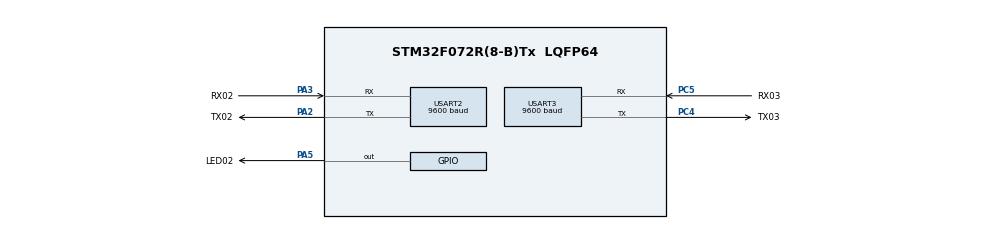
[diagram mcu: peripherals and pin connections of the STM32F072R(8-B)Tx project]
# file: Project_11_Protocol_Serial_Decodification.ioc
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Mcu.Family=STM32F0
Mcu.Name=STM32F072R(8-B)Tx
Mcu.Package=LQFP64
NVIC.USART2_IRQn=true\:0\:0\:false\:false\:true\:true\:true\:true
NVIC.USART3_4_IRQn=true\:0\:0\:false\:false\:true\:true\:true\:true
PA2.GPIO_Label=TX02
PA2.Mode=Asynchronous
PA2.Signal=USART2_TX
PA3.GPIO_Label=RX02
PA3.Mode=Asynchronous
PA3.Signal=USART2_RX
PA5.GPIO_Label=LED02
PA5.Signal=GPIO_Output
PC4.GPIO_Label=TX03
PC4.Mode=Asynchronous
PC4.Signal=USART3_TX
PC5.GPIO_Label=RX03
PC5.Mode=Asynchronous
PC5.Signal=USART3_RX
ProjectManager.HeapSize=0x200
ProjectManager.StackSize=0x400
ProjectManager.TargetToolchain=STM32CubeIDE
USART2.BaudRate=9600
USART2.VirtualMode-Asynchronous=VM_ASYNC
USART3.BaudRate=9600
USART3.VirtualMode-Asynchronous=VM_ASYNC
VP_CRC_VS_CRC.Mode=CRC_Activate
board=custom

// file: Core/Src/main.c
/* USER CODE BEGIN Header */
/**
  ******************************************************************************
  * @file           : main.c
  * @brief          : Main program body
  ******************************************************************************
  * @attention
  *
  * Copyright (c) 2022 STMicroelectronics.
  * All rights reserved.
  *
  * This software is licensed under terms that can be found in the LICENSE file
  * in the root directory of this software component.
  * If no LICENSE file comes with this software, it is provided AS-IS.
  *
  ******************************************************************************
  */
/* USER CODE END Header */
#include "main.h"

/* USER CODE BEGIN Includes */

#include <stdio.h>
#include <stdlib.h>
#include <string.h>

/* USER CODE END Includes */

/* USER CODE BEGIN PD */

#define comand_high  HAL_GPIO_WritePin(GPIOA,GPIO_PIN_5,GPIO_PIN_SET)
#define comand_low HAL_GPIO_WritePin(GPIOA,GPIO_PIN_5,GPIO_PIN_RESET)
#define delay_00 HAL_Delay(750)
#define delay_01 HAL_Delay(450)
#define ESTAGIO_PREPROSSEAMENTO 0
#define ESTAGIO_01 1
#define ESTAGIO_02 2
#define ESTAGIO_03 3
#define ESTAGIO_04 4
#define ESTAGIO_05 5
#define CABECALHO 6
#define TAMANHO 7
#define COMANDO 8
#define MENSAGEM 9
#define CHECKSUM 10

/* USER CODE END PD */

/* USER CODE BEGIN PM */

volatile char V_Estagio; //Variável de cintrole do switch case
volatile char V_Estagio_Protocolo;

uint8_t ErroCabecalho[] = "Elemento de cabecalho incorreto\n";
uint8_t ErroCheckSum[] = "Check Sum incorreto\n";
uint8_t CorrectCheckSum[] = "Check Sum correto\n";
uint8_t MensageVazia[] = "-";

/* USER CODE END PM */

CRC_HandleTypeDef hcrc;

UART_HandleTypeDef huart2;
UART_HandleTypeDef huart3;

void SystemClock_Config(void);
static void MX_GPIO_Init(void);
static void MX_USART2_UART_Init(void);
static void MX_USART3_UART_Init(void);
static void MX_CRC_Init(void);
/* USER CODE BEGIN PFP */

int PiscaLed(int NumPiscadas , int TempoDelay)
{

	for(int i = 0; i < NumPiscadas; i++)
	{

		HAL_GPIO_WritePin(GPIOA,LED02_Pin,GPIO_PIN_SET);
		HAL_Delay(TempoDelay);
		HAL_GPIO_WritePin(GPIOA,LED02_Pin,GPIO_PIN_RESET);
		HAL_Delay(TempoDelay);

	}

	return 0;

}

int checkSum(uint8_t *Byte, int tamanho)
{
	//Adicionar uma vriável chamda tamanho para controlar até onde o for irá

	uint8_t dados= 0;

	uint8_t CS_Incorreto = 0;

	uint8_t CS_Correto = 1;

	for (int i = 0; i < 6; i++)
	{

			HAL_Delay(100);
			dados += Byte[i];
	}

	if (dados == Byte[7])
	{

		return CS_Correto;

	}

	else
	{

		return CS_Incorreto;

	}

}

void Protocolo(uint8_t *a,int Tamanho_string)
{
//Quan a função é declarada e logo abaixo é chamda não é necessário montar um projeto

	  fflush(stdin);

	  uint8_t Verificacao;

	  short int  contador = 0;

	  switch(V_Estagio_Protocolo)
	  {
	  	//Nesta estapa são verificados os elementos do cabecalho

		case(CHECKSUM):
		{

			Verificacao = checkSum(a, Tamanho_string);

			if (Verificacao == 1)
			{
				V_Estagio_Protocolo =  ESTAGIO_PREPROSSEAMENTO;

			}

			else
			{

				break;

			}

		}

		case ESTAGIO_PREPROSSEAMENTO:
		{

		  if((a[0] == 'L')){

			 V_Estagio_Protocolo  = ESTAGIO_01;
			 contador +=1;

		  }

		  if ((a[0] != 'L' ) && (a[0] != '\0') )
		  {

			  break;

		  }

		 }

		  case ESTAGIO_01:
		  {

			  if((a[1] == 'U'))
			  {

				  V_Estagio_Protocolo  = ESTAGIO_02;
				  contador +=1;

			  }

			  if ((a[1] != 'U') && (a[1] != '\0'))
			  {

				  break;
			  }
		  }
		  case ESTAGIO_02:
		  {
			  if((a[2] == 'P'))
			  {

				  V_Estagio_Protocolo  = ESTAGIO_03;
				  contador +=1;
			  }

			  if ((a[2] != 'P') && (a[2] != '\0'))

			  {

				  break;
			  }

		  }
		  case ESTAGIO_03:
		  {
			  if((a[3] == 'A'))

			  {
				  V_Estagio_Protocolo = COMANDO; //Provavelmente vai sair desse ponto
				  contador +=1;

			  }

			  if ((a[3] != 'A') && (a[3] != '\0'))

			  {

				  break;

			  }

		  }

		  case(COMANDO):
		  {

			  //Acende LED02
			  if (a[5] == 0)
			  {
				  V_Estagio_Protocolo =  CHECKSUM;
				  comand_high;
				  contador +=1;
			  }

			  //Apaga LED02
			  if (a[5] == 1)
			  {
				  V_Estagio_Protocolo =  CHECKSUM;
				  comand_low;
				  contador +=1;
			  }

			  //Pisca LED02 N vezes
			  if (a[5] == 2)
			  {

				  V_Estagio_Protocolo =  CHECKSUM;
				  PiscaLed(4, 500);
				  contador +=1;

			  }
		  }
	  }

  HAL_UART_Transmit(&huart2,a,12,100);

}

/* USER CODE END PFP */

int main(void)
{
  /* USER CODE BEGIN 1 */

	int Tamanho_string;

	HAL_StatusTypeDef rx_status;

  	//V_Estagio  = CHECKSUM;
	V_Estagio_Protocolo = CHECKSUM;

  /* USER CODE END 1 */

  /* MCU Configuration--------------------------------------------------------*/

  /* Reset of all peripherals, Initializes the Flash interface and the Systick. */
  HAL_Init();

  /* Configure the system clock */
  SystemClock_Config();

  /* Initialize all configured peripherals */
  MX_GPIO_Init();
  MX_USART2_UART_Init();
  MX_USART3_UART_Init();
  MX_CRC_Init();

  /* Infinite loop */
  while (1)
  {

	  HAL_Delay(500);

	  uint8_t rx_dados[12] = {0};

	  HAL_Delay(500);

	  rx_status = HAL_UART_Receive_IT(&huart2,rx_dados,10);

	  Tamanho_string = sizeof(rx_dados);

	  if (rx_status !=  HAL_ERROR && rx_dados[0] == 'L')
	  {

		  Protocolo(rx_dados,Tamanho_string);

	  }

  }
}

void SystemClock_Config(void)
{
  RCC_OscInitTypeDef RCC_OscInitStruct = {0};
  RCC_ClkInitTypeDef RCC_ClkInitStruct = {0};
  RCC_PeriphCLKInitTypeDef PeriphClkInit = {0};

  /** Initializes the RCC Oscillators according to the specified parameters
  * in the RCC_OscInitTypeDef structure.
  */
  RCC_OscInitStruct.OscillatorType = RCC_OSCILLATORTYPE_HSI;
  RCC_OscInitStruct.HSIState = RCC_HSI_ON;
  RCC_OscInitStruct.HSICalibrationValue = RCC_HSICALIBRATION_DEFAULT;
  RCC_OscInitStruct.PLL.PLLState = RCC_PLL_NONE;
  if (HAL_RCC_OscConfig(&RCC_OscInitStruct) != HAL_OK)
  {
    Error_Handler();
  }

  /** Initializes the CPU, AHB and APB buses clocks
  */
  RCC_ClkInitStruct.ClockType = RCC_CLOCKTYPE_HCLK|RCC_CLOCKTYPE_SYSCLK
                              |RCC_CLOCKTYPE_PCLK1;
  RCC_ClkInitStruct.SYSCLKSource = RCC_SYSCLKSOURCE_HSI;
  RCC_ClkInitStruct.AHBCLKDivider = RCC_SYSCLK_DIV1;
  RCC_ClkInitStruct.APB1CLKDivider = RCC_HCLK_DIV1;

  if (HAL_RCC_ClockConfig(&RCC_ClkInitStruct, FLASH_LATENCY_0) != HAL_OK)
  {
    Error_Handler();
  }
  PeriphClkInit.PeriphClockSelection = RCC_PERIPHCLK_USART2;
  PeriphClkInit.Usart2ClockSelection = RCC_USART2CLKSOURCE_PCLK1;
  if (HAL_RCCEx_PeriphCLKConfig(&PeriphClkInit) != HAL_OK)
  {
    Error_Handler();
  }
}

static void MX_CRC_Init(void)
{

  hcrc.Instance = CRC;
  hcrc.Init.DefaultPolynomialUse = DEFAULT_POLYNOMIAL_ENABLE;
  hcrc.Init.DefaultInitValueUse = DEFAULT_INIT_VALUE_ENABLE;
  hcrc.Init.InputDataInversionMode = CRC_INPUTDATA_INVERSION_NONE;
  hcrc.Init.OutputDataInversionMode = CRC_OUTPUTDATA_INVERSION_DISABLE;
  hcrc.InputDataFormat = CRC_INPUTDATA_FORMAT_BYTES;
  if (HAL_CRC_Init(&hcrc) != HAL_OK)
  {
    Error_Handler();
  }

}

static void MX_USART2_UART_Init(void)
{

  huart2.Instance = USART2;
  huart2.Init.BaudRate = 9600;
  huart2.Init.WordLength = UART_WORDLENGTH_8B;
  huart2.Init.StopBits = UART_STOPBITS_1;
  huart2.Init.Parity = UART_PARITY_NONE;
  huart2.Init.Mode = UART_MODE_TX_RX;
  huart2.Init.HwFlowCtl = UART_HWCONTROL_NONE;
  huart2.Init.OverSampling = UART_OVERSAMPLING_16;
  huart2.Init.OneBitSampling = UART_ONE_BIT_SAMPLE_DISABLE;
  huart2.AdvancedInit.AdvFeatureInit = UART_ADVFEATURE_NO_INIT;
  if (HAL_UART_Init(&huart2) != HAL_OK)
  {
    Error_Handler();
  }

}

static void MX_USART3_UART_Init(void)
{

  huart3.Instance = USART3;
  huart3.Init.BaudRate = 9600;
  huart3.Init.WordLength = UART_WORDLENGTH_8B;
  huart3.Init.StopBits = UART_STOPBITS_1;
  huart3.Init.Parity = UART_PARITY_NONE;
  huart3.Init.Mode = UART_MODE_TX_RX;
  huart3.Init.HwFlowCtl = UART_HWCONTROL_NONE;
  huart3.Init.OverSampling = UART_OVERSAMPLING_16;
  huart3.Init.OneBitSampling = UART_ONE_BIT_SAMPLE_DISABLE;
  huart3.AdvancedInit.AdvFeatureInit = UART_ADVFEATURE_NO_INIT;
  if (HAL_UART_Init(&huart3) != HAL_OK)
  {
    Error_Handler();
  }

}

static void MX_GPIO_Init(void)
{
  GPIO_InitTypeDef GPIO_InitStruct = {0};

  /* GPIO Ports Clock Enable */
  __HAL_RCC_GPIOA_CLK_ENABLE();
  __HAL_RCC_GPIOC_CLK_ENABLE();

  /*Configure GPIO pin Output Level */
  HAL_GPIO_WritePin(LED02_GPIO_Port, LED02_Pin, GPIO_PIN_RESET);

  /*Configure GPIO pin : LED02_Pin */
  GPIO_InitStruct.Pin = LED02_Pin;
  GPIO_InitStruct.Mode = GPIO_MODE_OUTPUT_PP;
  GPIO_InitStruct.Pull = GPIO_NOPULL;
  GPIO_InitStruct.Speed = GPIO_SPEED_FREQ_LOW;
  HAL_GPIO_Init(LED02_GPIO_Port, &GPIO_InitStruct);

}

void Error_Handler(void)
{
  __disable_irq();
  while (1)
  {
  }
}
